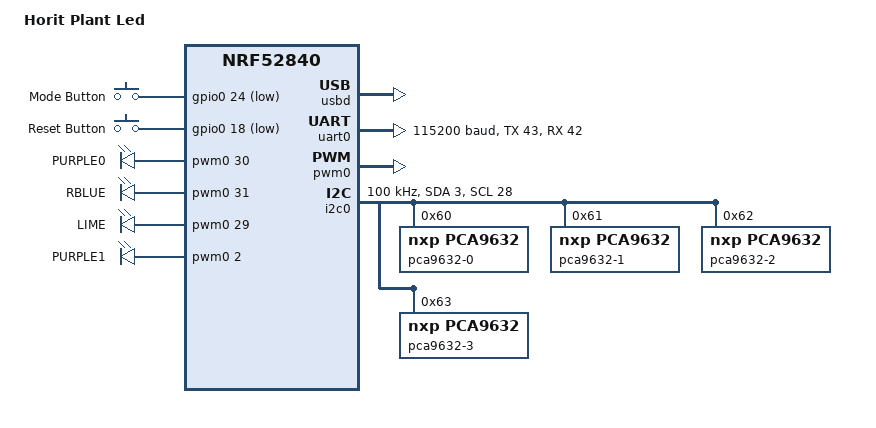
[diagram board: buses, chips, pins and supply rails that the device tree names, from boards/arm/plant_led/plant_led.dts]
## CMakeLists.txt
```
list(APPEND ZEPHYR_EXTRA_MODULES
  ${CMAKE_CURRENT_SOURCE_DIR}/drivers/as7341
  ${CMAKE_CURRENT_SOURCE_DIR}/drivers/pca9632
  ${CMAKE_CURRENT_SOURCE_DIR}/drivers/led_slowpwm
  ${CMAKE_CURRENT_SOURCE_DIR}/drivers/cap_sensor
  )
set(BOARD_ROOT ${CMAKE_CURRENT_LIST_DIR})
set(BOARD particle_xenon)
# ===== DO NOT REMOVE =====
cmake_minimum_required(VERSION 3.13.1)
find_package(Zephyr REQUIRED HINTS $ENV{ZEPHYR_BASE})
# ===== DO NOT REMOVE =====
project(horticulture_led_fw)

FILE(GLOB app_sources src/*.c)

target_sources(app PRIVATE ${app_sources})

# Define the two required variables before including
# the source code for watching a git repository.
set(PRE_CONFIGURE_FILE "src/headers/git.h.in")
set(POST_CONFIGURE_FILE "src/headers/git.h")
include(git_watcher.cmake)

# This last instruction is critical because it ensures
# we check git for changes prior to building the demo target.
add_dependencies(app check_git)
```

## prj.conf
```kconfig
# CONFIG_PRINTK=y
# CONFIG_NEWLIB_LIBC=y
# CONFIG_CBPRINTF_LIBC_SUBSTS=y
# CONFIG_POSIX_API=y
# CONFIG_POSIX_CLOCK=y
# CONFIG_MCUBOOT_SIGNATURE_KEY_FILE="bootloader/mcuboot/root-ec-p256.pem"
# CONFIG_MAIN_STACK_SIZE=4096
# CONFIG_INIT_STACKS=y
# CONFIG_ISR_STACK_SIZE=8196
# CONFIG_SETTINGS=y
# CONFIG_SETTINGS_RUNTIME=y
# CONFIG_FLASH_MAP=y
# CONFIG_HEAP_MEM_POOL_SIZE=8196
```

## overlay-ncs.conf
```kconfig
CONFIG_OPENTHREAD_NRF_SECURITY_CHOICE=y
CONFIG_OPENTHREAD_BUILD_OUTPUT_STRIPPED=y
CONFIG_MBEDTLS_CIPHER_MODE_CBC=n
CONFIG_MBEDTLS_CIPHER_MODE_CTR=n
CONFIG_MBEDTLS_CIPHER_MODE_CFB=n
CONFIG_MBEDTLS_CIPHER_MODE_OFB=n
CONFIG_MBEDTLS_CIPHER_MODE_XTS=n
CONFIG_MBEDTLS_GCM_C=n
CONFIG_MBEDTLS_CHACHA20_C=n
CONFIG_MBEDTLS_POLY1305_C=n
CONFIG_MBEDTLS_CHACHAPOLY_C=n
CONFIG_MBEDTLS_DHM_C=n
CONFIG_MBEDTLS_RSA_C=n
CONFIG_MBEDTLS_SHA1_C=n
CONFIG_MBEDTLS_SHA512_C=n
```

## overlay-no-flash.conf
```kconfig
CONFIG_IMG_MANAGER=n
CONFIG_BOOTLOADER_MCUBOOT=n
CONFIG_USB_DFU_CLASS=n
CONFIG_MCUBOOT_SIGNATURE_KEY_FILE=""
```

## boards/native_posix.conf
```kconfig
CONFIG_NETWORKING=y
CONFIG_NET_IPV4=y
CONFIG_STDOUT_CONSOLE=n
CONFIG_NEWLIB_LIBC=y
CONFIG_FLASH_PAGE_LAYOUT=n
CONFIG_FLASH_MAP=n
CONFIG_USE_DT_CODE_PARTITION=n
CONFIG_GPIO=n
CONFIG_DISPLAY=n
CONFIG_CHARACTER_FRAMEBUFFER=n
# CONFIG_NET_LOOPBACK=y
CONFIG_POSIX_API=n
CONFIG_NET_TCP=n
CONFIG_NET_SHELL=y
CONFIG_DNS_RESOLVER=y
CONFIG_ETH_NATIVE_POSIX=y
CONFIG_NET_CONFIG_MY_IPV6_ADDR="2001:db8::1"
CONFIG_NET_CONFIG_PEER_IPV6_ADDR="2001:db8::2"
CONFIG_ETH_NATIVE_POSIX_DRV_NAME="zeth.1"
CONFIG_ETH_NATIVE_POSIX_STARTUP_AUTOMATIC=n
CONFIG_NET_CONFIG_SETTINGS=y
CONFIG_SNTP=y
CONFIG_COAP=y
CONFIG_NET_SOCKETS=y
CONFIG_NET_CONFIG_CLOCK_SNTP_INIT=n
CONFIG_POSIX_CLOCK=n

CONFIG_ASAN=y
CONFIG_UBSAN=y
```

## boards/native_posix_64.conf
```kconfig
CONFIG_NETWORKING=y
CONFIG_NET_IPV4=y
CONFIG_STDOUT_CONSOLE=n
CONFIG_NEWLIB_LIBC=y
CONFIG_FLASH_PAGE_LAYOUT=n
CONFIG_FLASH_MAP=n
CONFIG_USE_DT_CODE_PARTITION=n
CONFIG_GPIO=n
CONFIG_DISPLAY=n
CONFIG_CHARACTER_FRAMEBUFFER=n
# CONFIG_NET_LOOPBACK=y
CONFIG_POSIX_API=n
CONFIG_NET_TCP=n
CONFIG_NET_SHELL=y
CONFIG_DNS_RESOLVER=y
CONFIG_ETH_NATIVE_POSIX=y
CONFIG_NET_CONFIG_MY_IPV6_ADDR="2001:db8::1"
CONFIG_NET_CONFIG_PEER_IPV6_ADDR="2001:db8::2"
CONFIG_ETH_NATIVE_POSIX_DRV_NAME="zeth.1"
CONFIG_ETH_NATIVE_POSIX_STARTUP_AUTOMATIC=n
CONFIG_NET_CONFIG_SETTINGS=y
CONFIG_SNTP=y
CONFIG_COAP=y
CONFIG_NET_SOCKETS=y
CONFIG_NET_CONFIG_CLOCK_SNTP_INIT=n
CONFIG_POSIX_CLOCK=n
```

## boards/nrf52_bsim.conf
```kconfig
CONFIG_STDOUT_CONSOLE=n
CONFIG_POSIX_API=n
CONFIG_NEWLIB_LIBC=y
CONFIG_FLASH_PAGE_LAYOUT=n
CONFIG_FLASH_MAP=n
CONFIG_USE_DT_CODE_PARTITION=n
CONFIG_GPIO=n
CONFIG_DISPLAY=n
CONFIG_CHARACTER_FRAMEBUFFER=n
```

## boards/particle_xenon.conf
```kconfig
# USB Console
CONFIG_USB_DEVICE_STACK=y
CONFIG_USB_DEVICE_PRODUCT="RC - Zephyr USB console"
# CONFIG_UART_CONSOLE=y
CONFIG_SERIAL=y
CONFIG_UART_LINE_CTRL=y
CONFIG_USB_UART_CONSOLE=y

CONFIG_LOG=y
CONFIG_LOG_DEFAULT_LEVEL=1

# Shell
CONFIG_SHELL=y
CONFIG_CLOCK_CONTROL_NRF_SHELL=y
CONFIG_FLASH_SHELL=n
CONFIG_SENSOR_SHELL=y
CONFIG_HWINFO_SHELL=n
CONFIG_KERNEL_SHELL=y
CONFIG_DEVICE_SHELL=y
CONFIG_CAN_SHELL=y

CONFIG_UART_INTERRUPT_DRIVEN=y
CONFIG_USB_COMPOSITE_DEVICE=n
CONFIG_USB_CDC_ACM_RINGBUF_SIZE=512
CONFIG_SHELL_BACKEND_SERIAL_INIT_PRIORITY=80
CONFIG_SHELL_PROMPT_UART="uart:~$ "
CONFIG_STDOUT_CONSOLE=y

# CAN bus
CONFIG_SPI=y
CONFIG_CAN=n
CONFIG_CAN_MCP2515=n

# Sensors
CONFIG_SENSOR=y
CONFIG_I2C=y
CONFIG_BME280=y
## CONFIG_MPU6050_TRIGGER_NONE=n
CONFIG_VL53L0X=y
CONFIG_VL53L0X_PROXIMITY_THRESHOLD=100

CONFIG_CBPRINTF_FP_SUPPORT=y

# # GPIO
CONFIG_GPIO=y
CONFIG_PWM=y
CONFIG_PWM_NRFX=y

CONFIG_FPU=y

# CONFIG_LED=n
# # CONFIG_QDEC_NRFX=y

# # FLASH
# CONFIG_FLASH=y
# CONFIG_FLASH_PAGE_LAYOUT=y
# CONFIG_SOC_FLASH_NRF=y
# CONFIG_MPU_ALLOW_FLASH_WRITE=y

# # Bootloader
# CONFIG_BOOTLOADER_MCUBOOT=y
# CONFIG_REBOOT=y
# CONFIG_IMG_MANAGER=y
# CONFIG_IMG_BLOCK_BUF_SIZE=2048
# CONFIG_SETTINGS_NVS=y
# CONFIG_NVS=y

# # CONFIG_NEWLIB_LIBC=y
# CONFIG_SYSTEM_WORKQUEUE_STACK_SIZE=2048

## RTT
CONFIG_UART_CONSOLE=n
CONFIG_RTT_CONSOLE=y
CONFIG_USE_SEGGER_RTT=y
CONFIG_LOG_BACKEND_RTT=y
# CONFIG_SHELL_BACKEND_RTT=y
# CONFIG_LOG_BACKEND_RTT_FORCE_PRINTK=y
```

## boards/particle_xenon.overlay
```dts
/*
 * Copyright (c) 2019 PHYTEC Messtechnik GmbH
 *
 * SPDX-License-Identifier: Apache-2.0
 */
 /delete-node/ &boot_partition;
 /delete-node/ &slot0_partition;
 /delete-node/ &slot1_partition;
 
 &flash0 {
	 partitions {
			 compatible = "fixed-partitions";
			 #address-cells = <1>;
			 #size-cells = <1>;
 
			 boot_partition: partition@0 {
				 label = "mcuboot";
				 reg = <0x000000000 0x00010000>;
			 };
			 slot0_partition: partition@10000 {
				 label = "image-0";
				 reg = <0x000010000 0x000074000>;
			 };
			 slot1_partition: partition@75000 {
				 label = "image-1";
				 reg = <0x00084000 0x000074000>;
			 };
	 };
 };

   &pwm0 {
	status = "okay";
	ch0-pin = <44>;
   };
   &pwm1 {
	status = "okay";
	ch0-pin = <42>;
	ch1-pin = <40>;
	ch2-pin = <43>;
   };
   &pwm3 {
	status = "okay";
	ch0-pin = <34>;
	ch1-pin = <33>;
   };

 &i2c0 {
	status = "okay";
	bme280: bme280@76 {
		compatible = "bosch,bme280";
		reg = <0x76>;
		label = "ENVIRONMENTAL_SENSOR";
	};
	vl53l0x: vl53l0x@29 {
		compatible = "st,vl53l0x";
		reg = <0x29>;
		// xshut-gpios = <&gpioc 6 GPIO_ACTIVE_HIGH>;
		label = "LASER_DISTANCE_SENSOR";
	};
	// mpu9250@68 {
	// 	compatible = "invensense,mpu6050";
	// 	reg = <0x68>;
	// 	status = "okay";
	// 	label = "MPU9250";
	// 	int-gpios = <&gpio0 11 GPIO_ACTIVE_HIGH>;
	// };	
};
&spi1 {
    status = "okay";
	compatible = "nordic,nrf-spi";
	sck-pin = <47>;   /* 32 + 15 */
	mosi-pin = <45>;  /* 32 + 13 */
 	miso-pin = <46>;  /* 32 + 14 */	
    cs-gpios = <&gpio0 4 GPIO_ACTIVE_LOW>;
	can1: mcp2515@0 {               
		compatible = "microchip,mcp2515";
		spi-max-frequency = <1000000>;
		int-gpios = <&gpio0 3 0>; /* D2 */
		status = "okay";
		label = "CAN_1";
		reg = <0x0>;
		osc-freq = <16000000>;
		bus-speed = <125000>;
		sjw = <1>;
		prop-seg = <2>;
		phase-seg1 = <7>;
		phase-seg2 = <6>;
		#address-cells = <1>;
		#size-cells = <0>;
		sample-point = < 875 >; // ?
	};
};
/ {
	gpio_keys {
		echo0: button_2 {
			gpios = <&gpio1 3 (GPIO_PULL_DOWN | GPIO_ACTIVE_HIGH)>;
			label = "Distance sensor 0 echo pin";
		};		
		echo1: button_3 {
			gpios = <&gpio0 31 (GPIO_PULL_DOWN | GPIO_ACTIVE_HIGH)>;
			label = "Distance sensor 1 echo pin";
		};		
	};
	leds {
		trig0: led_0 {
			gpios = <&gpio0 29 GPIO_ACTIVE_HIGH>;
			label = "Distance sensor 0 trig pin";
		};
		trig1: led_1 {
			gpios = <&gpio0 30 GPIO_ACTIVE_HIGH>;
			label = "Distance sensor 1 trig pin";
		};
	};
	vbatt {
		compatible = "voltage-divider";
		io-channels = <&adc 2>;
		output-ohms = <2100000>;
		full-ohms = <(2100000 + 806000)>;
	};

	aliases {
		i2c0 = &i2c0;
		pwm0 = &pwm0;
		pwm1 = &pwm1;
		pwm3 = &pwm3;
		can1 = &can1;
		echo0 = &echo0;
		trig0 = &trig0;

		echo1 = &echo1;
		trig1 = &trig1;
	};
};

// &qdec {
// 	compatible = "nordic,nrf-qdec";
// 	status = "okay";
// 	a-pin = <28>;
// 	b-pin = <4>;
// 	led-pre = <0>;
// 	steps = <60>;
// 	label = "QDEC_0";
// };
/ {
	chosen {
		zephyr,console = &cdc_acm_uart0;
		zephyr,shell-uart = &cdc_acm_uart0;
		zephyr,can-primary = &can1;
	};
};

&zephyr_udc0 {
	cdc_acm_uart0: cdc_acm_uart0 {
		compatible = "zephyr,cdc-acm-uart";
		label = "CDC_ACM_0";
	};
};
```

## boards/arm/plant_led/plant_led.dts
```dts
/*
 * Copyright (c) 2018 Nordic Semiconductor ASA
 * Copyright (c) 2017 Linaro Limited
 *
 * SPDX-License-Identifier: Apache-2.0
 */

/dts-v1/;
#include <nordic/nrf52840_qiaa.dtsi>

/ {
	model = "Horit Plant Led";
	compatible = "nordic,plant_led";

	chosen {
		zephyr,console = &uart0;
		zephyr,shell-uart = &uart0;
		zephyr,uart-mcumgr = &uart0;
		zephyr,bt-mon-uart = &uart0;
		zephyr,bt-c2h-uart = &uart0;
		zephyr,sram = &sram0;
		zephyr,flash = &flash0;
		zephyr,code-partition = &slot0_partition;
	};
	gpio_keys {
		compatible = "gpio-keys";
		mode_button: button_0 {
			gpios = <&gpio0 24 (GPIO_PULL_UP | GPIO_ACTIVE_LOW)>;
			label = "Mode Button";
		};

		reset_button: button_1 {
				gpios = <&gpio0 18 (GPIO_PULL_UP | GPIO_ACTIVE_LOW)>;
				label = "Reset Button";
		};
	 
	};



};

&flash0 {
	partitions {
		compatible = "fixed-partitions";
		#address-cells = <1>;
		#size-cells = <1>;
		boot_partition: partition@0 {
			label = "mcuboot";
			reg = <0x000000000 0x00010000>;
		};
		slot0_partition: partition@10000 {
			label = "image-0";
			reg = <0x000010000 0x000074000>;
		};
		slot1_partition: partition@75000 {
			label = "image-1";
			reg = <0x00084000 0x000074000>;
		};

		/*
		 * The flash starting at 0x000f8000 and ending at
		 * 0x000fffff is reserved for use by the application.
		 */

		/*
		 * Storage partition will be used by FCB/LittleFS/NVS
		 * if enabled.
		 */
		storage_partition: partition@f8000 {
			label = "storage";
			reg = <0x000f8000 0x00008000>;
		};
	};
};

zephyr_udc0: &usbd {
	compatible = "nordic,nrf-usbd";
	status = "okay";
};
&gpiote {
	status = "okay";
};

&gpio0 {
	status = "okay";
};

&gpio1 {
	status = "okay";
};

&uart0 {
	compatible = "nordic,nrf-uarte";
	status = "okay";
	current-speed = <115200>;
	tx-pin = <43>;
	rx-pin = <42>;
};
&pwm0 {
	status = "okay";
	ch0-pin = <30>;
	ch1-pin = <31>;
	ch2-pin = <29>;
	ch3-pin = <02>;
};
&i2c0 {
	compatible = "nordic,nrf-twi";
	status = "okay";
	clock-frequency = <I2C_BITRATE_STANDARD>;
	sda-pin = <3>;
	scl-pin = <28>;

	pca96320: pca9632@60 {
		compatible = "nxp,pca9632";
		reg = <0x60>;
		label = "pca9632-0";
	};
	pca96321: pca9632@61 {
		compatible = "nxp,pca9632";
		reg = <0x61>;
		label = "pca9632-1";
	};
	pca96322: pca9632@62 {
		compatible = "nxp,pca9632";
		reg = <0x62>;
		label = "pca9632-2";
	};
	pca96323: pca9632@63 {
		compatible = "nxp,pca9632";
		reg = <0x63>;
		label = "pca9632-3";
	};
};
/ {
	pwmleds {
		compatible = "pwm-leds";

		purple0_pwm_led: led_pwm_0 {
			pwms = <&pwm0 30>;
			label = "PURPLE0";
		};

		royale_blue_pwm_led: led_pwm_1 {
			pwms = <&pwm0 31>;
			label = "RBLUE";
		};

		lime_pwm_led: led_pwm_2 {
			pwms = <&pwm0 29>;
			label = "LIME";
		};

		purple1_pwm_led: led_pwm_3 {
			pwms = <&pwm0 2>;
			label = "PURPLE1";
		};
	};

	aliases {
		purple0-pwm-led = &purple0_pwm_led;
		lime-pwm-led = &lime_pwm_led;
		royal-blue-pwm-led = &royale_blue_pwm_led;
		purple1-pwm-led = &purple1_pwm_led;
	};
};
```

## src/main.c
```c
/*
 * Copyright (c) 2022
 *
 * SPDX-License-Identifier: Apache-2.0
 */

#include <zephyr.h>
#include <device.h>
#include <drivers/gpio.h>
#include <drivers/sensor.h>
#include <drivers/uart.h>
#include <logging/log.h>

#include <stdio.h>
#include <sys/printk.h>
#include <usb/usb_device.h>

// #include <time.h>
// #include <stdlib.h>
// #include <errno.h>
// #include <unistd.h>

#ifdef CONFIG_IMG_MANAGER
#include <dfu/mcuboot.h>
#include <dfu/flash_img.h>
#endif

#include "headers/pwm_control.h"
#include "headers/shell_menu.h"
#include "headers/git.h"
#include "headers/sensor_reading.h"
#include "headers/hcsr_distance_sensor.h"


#define WAIT_UNTIL_USB_CONNECTION
#define WQ_TIME_MS 100
#define PID_INTERVAL 1

LOG_MODULE_REGISTER(main, LOG_LEVEL_INF);

// USER BTN Interrupt:
#define SW0_NODE    DT_ALIAS(sw0)
#if !DT_NODE_HAS_STATUS(SW0_NODE, okay)
#error "Unsupported board: sw0 devicetree alias is not defined"
#endif
static const struct gpio_dt_spec button = GPIO_DT_SPEC_GET_OR(SW0_NODE, gpios, {0});
static struct gpio_callback button_cb_data;

void button_pressed(const struct device *dev, struct gpio_callback *cb, uint32_t pins) {
    LOG_INF("Button pressed at %" PRIu32 "\n", k_cycle_get_32());
    // Can be used to reset distance / change mode ...
    // gpio_remove_callback(button.port, &button_cb_data);
}

void init_button_callback() {
    int ret;
    if (!device_is_ready(button.port)) {
        LOG_ERR("Error: button device %s is not ready\n",
               button.port->name);
        return;
    }

    ret = gpio_pin_configure_dt(&button, GPIO_INPUT);
    if (ret != 0) {
        LOG_ERR("Error %d: failed to configure %s pin %d\n",
               ret, button.port->name, button.pin);
        return;
    }

    ret = gpio_pin_interrupt_configure_dt(&button, GPIO_INT_EDGE_TO_ACTIVE);
    if (ret != 0) {
        LOG_ERR("Error %d: failed to configure interrupt on %s pin %d\n",
            ret, button.port->name, button.pin);
        return;
    }

    gpio_init_callback(&button_cb_data, button_pressed, BIT(button.pin));
    gpio_add_callback(button.port, &button_cb_data);
    LOG_INF("Set up button at %s pin %d\n", button.port->name, button.pin);
}

////////////////////  WORKQUEUE  /////////////////
// Will run stuff periodicaly
static uint32_t wq_counter = 0;
static uint32_t last_run_pid = 0;

void wq_timing_handler(struct k_timer *dummy) {
    if (wq_counter >= last_run_pid + PID_INTERVAL) {
         // run PID functionality or set flag to do so in main loop;
         last_run_pid = wq_counter;
    }
    wq_counter += WQ_TIME_MS;
}

K_TIMER_DEFINE(wq_timer, wq_timing_handler, NULL);
/* Start workque timer */
int wq_init() {
    k_timer_start(&wq_timer, K_MSEC(WQ_TIME_MS), K_MSEC(WQ_TIME_MS));
    return 0;
}

void main(void) {
    if (usb_enable(NULL)) {
        LOG_ERR("Failed to enable USB");
        return;
    }
    /* Poll if the DTR flag was set, wait until connected ... */
    #ifdef WAIT_UNTIL_USB_CONNECTION
    uint32_t dtr = 0;
    const struct device *dev_console = DEVICE_DT_GET(DT_CHOSEN(zephyr_console));
    while (!dtr) {
        uart_line_ctrl_get(dev_console, UART_LINE_CTRL_DTR, &dtr);
        k_sleep(K_MSEC(1000));
    }
    #endif  // WAIT UNTIL USB CONNECTION

    LOG_INF("ELEBAC22 RC - %s \n", GIT_DESCRIBE);
    LOG_INF("HC-SR04 initializing!");
    hcsr_init();  // Initialize HC-SR04 sensors
    LOG_INF("Sensor handler initializing!");
    init_sensors();
    LOG_INF("Motor PWM initializing!");
    motor_init();
    LOG_INF("Button callback initializing!");
    init_button_callback();
    // LOG_INF("Setting handler initializing!");
    // settings_init();
    LOG_INF("Work queue for PID etc initializing!");
    wq_init();

    while (1) {
        make_reading_and_send();
        /* Give CPU resources to low priority threads. */
        k_sleep(K_MSEC(100));
        log_output_all_sensors();
        k_sleep(K_MSEC(900));
    }
}
```

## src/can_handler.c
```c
/*
 * Copyright (c) 2022
 *
 * SPDX-License-Identifier: Apache-2.0
 */
// CAN bus:
#ifdef CONFIG_CAN

#include <zephyr.h>
#include <stdio.h>
#include <device.h>
#include <drivers/can.h>
#include <sys/byteorder.h>
#include <logging/log.h>

#define RX_THREAD_STACK_SIZE 512
#define RX_THREAD_PRIORITY 2
#define STATE_POLL_THREAD_STACK_SIZE 512
#define STATE_POLL_THREAD_PRIORITY 2
#define LED_MSG_ID 0x10
#define COUNTER_MSG_ID 0x12345
#define SET_LED 1
#define RESET_LED 0

#define CAN0_NODE_NAME DT_ALIAS(can1)

K_THREAD_STACK_DEFINE(rx_thread_stack, RX_THREAD_STACK_SIZE);
K_THREAD_STACK_DEFINE(poll_state_stack, STATE_POLL_THREAD_STACK_SIZE);

const struct device *can_dev = DEVICE_DT_GET(CAN0_NODE_NAME);

struct k_thread rx_thread_data;
struct k_thread poll_state_thread_data;
struct zcan_work rx_work;
struct k_work state_change_work;
enum can_state current_state;
struct can_bus_err_cnt current_err_cnt;

CAN_DEFINE_MSGQ(counter_msgq, 2);

void can_api_init(void) {
     int ret;
     printk("GET: %s\n", can_dev->name);  // node 0
}

void tx_irq_callback(int error, void *arg) {
    char *sender = (char *)arg;

    if (error != 0) {
        printk("Callback! error-code: %d\nSender: %s\n",
               error, sender);
    }
}

void rx_thread(void *arg1, void *arg2, void *arg3) {
    ARG_UNUSED(arg1);
    ARG_UNUSED(arg2);
    ARG_UNUSED(arg3);
    const struct zcan_filter filter = {
        .id_type = CAN_EXTENDED_IDENTIFIER,
        .rtr = CAN_DATAFRAME,
        .id = COUNTER_MSG_ID,
        .rtr_mask = 1,
        .id_mask = CAN_EXT_ID_MASK
    };
    struct zcan_frame msg;
    int filter_id;

    filter_id = can_attach_msgq(can_dev, &counter_msgq, &filter);
    printk("Counter filter id: %d\n", filter_id);

    while (1) {
        k_msgq_get(&counter_msgq, &msg, K_FOREVER);

        if (msg.dlc != 2U) {
            printk("Wrong data length: %u\n", msg.dlc);
            continue;
        }

        printk("Counter received: %u\n",
               sys_be16_to_cpu(UNALIGNED_GET((uint16_t *)&msg.data)));
    }
}

void change_led(struct zcan_frame *msg, void *unused) {
    ARG_UNUSED(unused);

    printk("LED %s\n", msg->data[0] == SET_LED ? "ON" : "OFF");
    return;
}

char *state_to_str(enum can_state state) {
    switch (state) {
    case CAN_ERROR_ACTIVE:
        return "error-active";
    case CAN_ERROR_PASSIVE:
        return "error-passive";
    case CAN_BUS_OFF:
        return "bus-off";
    default:
        return "unknown";
    }
}
void poll_state_thread(void *unused1, void *unused2, void *unused3) {
    struct can_bus_err_cnt err_cnt = {0, 0};
    struct can_bus_err_cnt err_cnt_prev = {0, 0};
    enum can_state state_prev = CAN_ERROR_ACTIVE;
    enum can_state state;

    while (1) {
        state = can_get_state(can_dev, &err_cnt);
        if (err_cnt.tx_err_cnt != err_cnt_prev.tx_err_cnt ||
            err_cnt.rx_err_cnt != err_cnt_prev.rx_err_cnt ||
            state_prev != state) {
            err_cnt_prev.tx_err_cnt = err_cnt.tx_err_cnt;
            err_cnt_prev.rx_err_cnt = err_cnt.rx_err_cnt;
            state_prev = state;
            printk("state: %s\n"
                   "rx error count: %d\n"
                   "tx error count: %d\n",
                   state_to_str(state),
                   err_cnt.rx_err_cnt, err_cnt.tx_err_cnt);
        } else {
            k_sleep(K_MSEC(100));
        }
    }
}

void state_change_isr(enum can_state state, struct can_bus_err_cnt err_cnt) {
    current_state = state;
    current_err_cnt = err_cnt;
    k_work_submit(&state_change_work);
}

void state_change_work_handler(struct k_work *work) {
    printk("State Change ISR\nstate: %s\n"
           "rx error count: %d\n"
           "tx error count: %d\n",
        state_to_str(current_state),
        current_err_cnt.rx_err_cnt, current_err_cnt.tx_err_cnt);
}
#endif

/// CAN FROM MAIN:
// #ifdef CONFIG_CAN
//     const struct zcan_filter change_led_filter = {
//         .id_type = CAN_STANDARD_IDENTIFIER,
//         .rtr = CAN_DATAFRAME,
//         .id = LED_MSG_ID,
//         .rtr_mask = 1,
//         .id_mask = CAN_STD_ID_MASK
//     };
//     struct zcan_frame change_led_frame = {
//         .id_type = CAN_STANDARD_IDENTIFIER,
//         .rtr = CAN_DATAFRAME,
//         .id = LED_MSG_ID,
//         .dlc = 1
//     };
//     struct zcan_frame counter_frame = {
//         .id_type = CAN_EXTENDED_IDENTIFIER,
//         .rtr = CAN_DATAFRAME,
//         .id = COUNTER_MSG_ID,
//         .dlc = 2
//     };
//     uint8_t toggle = 1;
//     uint16_t counter = 0;
//     k_tid_t rx_tid, get_state_tid;

//     if (!device_is_ready(can_dev)) {
//         printk("CAN: Device %s not ready.\n", can_dev->name);
//         return;
//     }

//     k_work_init(&state_change_work, state_change_work_handler);

//     ret = can_attach_workq(can_dev, &k_sys_work_q, &rx_work, change_led,
//                    NULL, &change_led_filter);
//     if (ret == CAN_NO_FREE_FILTER) {
//         printk("Error, no filter available!\n");
//         return;
//     }

//     printk("Change LED filter ID: %d\n", ret);

//     rx_tid = k_thread_create(&rx_thread_data, rx_thread_stack,
//                  K_THREAD_STACK_SIZEOF(rx_thread_stack),
//                  rx_thread, NULL, NULL, NULL,
//                  RX_THREAD_PRIORITY, 0, K_NO_WAIT);
//     if (!rx_tid) {
//         printk("ERROR spawning rx thread\n");
//     }


//     get_state_tid = k_thread_create(&poll_state_thread_data,
//                     poll_state_stack,
//                     K_THREAD_STACK_SIZEOF(poll_state_stack),
//                     poll_state_thread, NULL, NULL, NULL,
//                     STATE_POLL_THREAD_PRIORITY, 0,
//                     K_NO_WAIT);
//     if (!get_state_tid) {
//         printk("ERROR spawning poll_state_thread\n");
//     }

//     can_register_state_change_isr(can_dev, state_change_isr);

// #endif

// CAN FROM MAIN LOOP:
// #ifdef CONFIG_CAN
//         change_led_frame.data[0] = toggle++ & 0x01 ? SET_LED : RESET_LED;
//         /* This sending call is none blocking. */
//         can_send(can_dev, &change_led_frame, K_FOREVER,
//              tx_irq_callback,
//              "LED change");
//         k_sleep(K_MSEC(250));

//         UNALIGNED_PUT(sys_cpu_to_be16(counter),
//                   (uint16_t *)&counter_frame.data[0]);
//         counter++;
//         // /* This sending call is blocking until the message is sent. */
//         // can_send(can_dev, &counter_frame, K_MSEC(100), NULL, NULL);
// #endif
```

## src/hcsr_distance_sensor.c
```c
// "Copyright 2022 RC-project"
#include <zephyr.h>
#include <stdio.h>
#include <device.h>
#include <drivers/gpio.h>
#include <drivers/sensor.h>
#include <logging/log.h>

#include "headers/definitions.h"
#include "headers/hcsr_distance_sensor.h"


LOG_MODULE_REGISTER(distance, LOG_LEVEL_INF);

// USER BTN Interrupt:
#define TRIG_PIN_0_NODE    DT_ALIAS(trig0)
#define ECHO_PIN_0_NODE    DT_ALIAS(echo0)
#define TRIG_PIN_1_NODE    DT_ALIAS(trig1)
#define ECHO_PIN_1_NODE    DT_ALIAS(echo1)
// #define TRIG_0_PIN DT_GPIO_PIN(TRIG_PIN_0_NODE, gpios)
// #define TRIG_1_PIN DT_GPIO_PIN(TRIG_PIN_1_NODE, gpios)

#if !DT_NODE_HAS_STATUS(TRIG_PIN_0_NODE, okay)
#error "Unsupported board: trig0 devicetree alias is not defined"
#endif
#if !DT_NODE_HAS_STATUS(ECHO_PIN_0_NODE, okay)
#error "Unsupported board: echo0 devicetree alias is not defined"
#endif
#if !DT_NODE_HAS_STATUS(TRIG_PIN_1_NODE, okay)
#error "Unsupported board: trig1 devicetree alias is not defined"
#endif
#if !DT_NODE_HAS_STATUS(ECHO_PIN_1_NODE, okay)
#error "Unsupported board: echo1 devicetree alias is not defined"
#endif

#define TRIG_TIME K_USEC(10)
#define MAX_ECHO_WAIT 0
#define SENSE_FREQ K_MSEC(400)


/* Timings defined by spec */
#define T_TRIG_PULSE_US     K_USEC(11)
#define T_INVALID_PULSE_US    25000
#define T_MAX_WAIT_MS         130
#define T_SPURIOS_WAIT_US     145
#define METERS_PER_SEC        340


#define DIST_SENSOR_FACTOR METERS_PER_SEC / 2

uint64_t trig_time = 0;
uint8_t cur_dist_sensor = 0;
uint8_t trig_type = 0;

static const struct gpio_dt_spec trig_0 = GPIO_DT_SPEC_GET_OR(TRIG_PIN_0_NODE, gpios, {0});
static const struct gpio_dt_spec trig_1 = GPIO_DT_SPEC_GET_OR(TRIG_PIN_1_NODE, gpios, {0});
static const struct gpio_dt_spec echo_0 = GPIO_DT_SPEC_GET_OR(ECHO_PIN_0_NODE, gpios, {0});
static const struct gpio_dt_spec echo_1 = GPIO_DT_SPEC_GET_OR(ECHO_PIN_1_NODE, gpios, {0});

static struct gpio_callback echo_0_cb_data;
static struct gpio_callback echo_1_cb_data;

struct sensor_value distance_readings[MAX_DISTANCE_SENSORS];

void hcsr_timing_handler(struct k_timer *dummy) {
    // Switch between the two sensors ...
    cur_dist_sensor = !cur_dist_sensor;  // 0 or 1 ...
    LOG_DBG("Sending trigger on %d ...", cur_dist_sensor);
    send_trig();
}

K_TIMER_DEFINE(hcsr_timer, hcsr_timing_handler, NULL);

void hcsr_get(int sensor_no, int channel, struct sensor_value *sv) {
    sv->val1 = distance_readings[sensor_no].val1;
    sv->val2 = distance_readings[sensor_no].val2;
}

void echo_returned(const struct device *dev, struct gpio_callback *cb, uint32_t pins) {
    if (trig_type == 0) {
        if (cur_dist_sensor == 0) {
            gpio_remove_callback(echo_0.port, &echo_0_cb_data);
            gpio_pin_interrupt_configure_dt(&echo_0, GPIO_INT_EDGE_FALLING);
            gpio_add_callback(echo_0.port, &echo_0_cb_data);
        } else {
            gpio_remove_callback(echo_1.port, &echo_1_cb_data);
            gpio_pin_interrupt_configure_dt(&echo_1, GPIO_INT_EDGE_FALLING);
            gpio_add_callback(echo_1.port, &echo_1_cb_data);
        }
        trig_time = k_cycle_get_32();
        trig_type = 1;
    } else {
        uint64_t diff = k_cyc_to_us_floor64(k_cycle_get_32() - trig_time);
        int distance = diff * DIST_SENSOR_FACTOR;
        distance_readings[cur_dist_sensor].val2 = (distance % 1000000);
        distance_readings[cur_dist_sensor].val1 = (distance / 1000000);
    }
}

void hcsr_init() {
    LOG_INF("Init HC-SR04 distance sensors");
    gpio_pin_configure_dt(&trig_0, GPIO_OUTPUT);
    gpio_pin_configure_dt(&trig_1, GPIO_OUTPUT);
    gpio_init_callback(&echo_0_cb_data, echo_returned, BIT(echo_0.pin));
    gpio_init_callback(&echo_1_cb_data, echo_returned, BIT(echo_1.pin));
    int ret;
    if (!device_is_ready(echo_0.port)) {
        LOG_ERR("Error: Echo-pin device %s is not ready\n",
               echo_0.port->name);
        return;
    }
    ret = gpio_pin_configure_dt(&echo_0, GPIO_INPUT);
    if (ret != 0) {
        LOG_ERR("Error %d: failed to configure %s pin %d\n",
               ret, echo_0.port->name, echo_0.pin);
        return;
    }
    ret = gpio_pin_interrupt_configure_dt(&echo_0, GPIO_INT_EDGE_TO_ACTIVE);
    if (ret != 0) {
        LOG_ERR("Error %d: failed to configure interrupt on %s pin %d\n",
            ret, echo_0.port->name, echo_0.pin);
        return;
    }
    if (!device_is_ready(echo_1.port)) {
        LOG_ERR("Error: Echo-pin device %s is not ready\n",
               echo_1.port->name);
        return;
    }
    ret = gpio_pin_configure_dt(&echo_1, GPIO_INPUT);
    if (ret != 0) {
        LOG_ERR("Error %d: failed to configure %s pin %d\n",
               ret, echo_1.port->name, echo_1.pin);
        return;
    }
    ret = gpio_pin_interrupt_configure_dt(&echo_1, GPIO_INT_EDGE_TO_ACTIVE);
    if (ret != 0) {
        LOG_ERR("Error %d: failed to configure interrupt on %s pin %d\n",
            ret, echo_1.port->name, echo_1.pin);
        return;
    }
    k_timer_start(&hcsr_timer, SENSE_FREQ, SENSE_FREQ);
}

void send_trig() {
    trig_time = k_cycle_get_32();
    if (!cur_dist_sensor) {
        gpio_pin_set_dt(&trig_0, 1);
        k_sleep(T_TRIG_PULSE_US);
        gpio_pin_set_dt(&trig_0, 0);
        gpio_add_callback(echo_0.port, &echo_0_cb_data);
        LOG_DBG("Trig sent on %s pin %d", echo_0.port->name, echo_0.pin);
    } else {
        gpio_pin_set_dt(&trig_1, 1);
        k_sleep(T_TRIG_PULSE_US);
        gpio_pin_set_dt(&trig_1, 0);
        gpio_add_callback(echo_1.port, &echo_1_cb_data);
        gpio_pin_interrupt_configure_dt(&echo_1, GPIO_INT_EDGE_RISING);
        trig_type = 0;
        LOG_DBG("Trig sent on %s pin %d", echo_1.port->name, echo_1.pin);
    }
}
```

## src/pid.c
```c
/*
 * Copyright (c) 2021 
 *
 * SPDX-License-Identifier: Apache-2.0
 */

#include "headers/pid.h"

void PIDController_Init(struct PIDController *pid) {
    /* Clear controller variables */
    pid->integrator = 0.0f;
    pid->prevError  = 0.0f;

    pid->differentiator  = 0.0f;
    pid->prevMeasurement = 0.0f;

    pid->out = 0.0f;
}

float PIDController_Update(struct PIDController *pid, float setpoint, float measurement) {
    float error = setpoint - measurement;               // Error signal
    pid->proportional = pid->pid_gains.K_p * error;      // Proportional
    /* Integral    */
    pid->integrator = pid->integrator + 0.5f * pid->pid_gains.K_i * pid->T * (error + pid->prevError);
    /* Anti-wind-up via integrator clamping */
    if (pid->integrator > pid->integrator_limits.max) {
        pid->integrator = pid->integrator_limits.max;
    } else if (pid->integrator < pid->integrator_limits.min) {
        pid->integrator = pid->integrator_limits.min;
    }

    /* Derivative (band-limited differentiator)     
        Note: derivative on measurement, therefore minus sign in front of equation! */
/*    pid->differentiator = -(2.0f * pid->pid_gains.K_d * (measurement - pid->prevMeasurement)
                        + (2.0f * pid->tau - pid->T) * pid->differentiator)
                        / (2.0f * pid->tau + pid->T);
*/
    pid->differentiator = pid->pid_gains.K_d * (measurement - pid->prevMeasurement) / pid->T;
    /* Compute output and apply limits    */
    pid->out = pid->proportional + pid->integrator + pid->differentiator;

    if (pid->out > pid->output_limits.max) {
        pid->out = pid->output_limits.max;
    } else if (pid->out < pid->output_limits.min) {
        pid->out = pid->output_limits.min;
    }

    /* Store error and measurement for later use */
    pid->prevError       = error;
    pid->prevMeasurement = measurement;

    /* Return controller output */
    return pid->out;
}
```

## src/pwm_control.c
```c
/*
 * Copyright (c) 2022
 *
 * SPDX-License-Identifier: Apache-2.0
 */

#include <zephyr.h>
#include <device.h>
#include <drivers/pwm.h>
#include <logging/log.h>
#include <stdio.h>
#include <sys/printk.h>

#include "headers/definitions.h"

LOG_MODULE_REGISTER(pwm_control, LOG_LEVEL_INF);

/* period of servo motor signal ->  20ms (50Hz) */
#define PERIOD (USEC_PER_SEC / 50U)

/* all in micro second */
#define STEP 100    /* PWM pulse step */
#define MINPULSEWIDTH 1000  /* Servo 0 degrees */
#define MIDDLEPULSEWIDTH 1500   /* Servo 90 degrees */
#define MAXPULSEWIDTH 2000  /* Servo 180 degrees */

#define HZ_TO_USEC(frequency)   (USEC_PER_SEC / frequency)

#define linmot_max_pwm 20000

#define MOTOR_0_0_PWM_PORT DT_PROP(DT_ALIAS(pwm1), ch0_pin)
#define MOTOR_0_1_PWM_PORT DT_PROP(DT_ALIAS(pwm1), ch1_pin)
#define MOTOR_1_0_PWM_PORT DT_PROP(DT_ALIAS(pwm3), ch0_pin)
#define MOTOR_1_1_PWM_PORT DT_PROP(DT_ALIAS(pwm3), ch1_pin)
#define MOTOR_EXT_PWM_PORT DT_PROP(DT_ALIAS(pwm0), ch0_pin)
#define SERVO_PWM_PORT DT_PROP(DT_ALIAS(pwm1), ch2_pin)
#define PWM0_DEV_NAME DT_ALIAS(pwm0)
#define PWM1_DEV_NAME DT_ALIAS(pwm1)
#define PWM3_DEV_NAME DT_ALIAS(pwm3)

const struct device *pwm0_dev;
const struct device *pwm1_dev;
const struct device *pwm3_dev;

int motor_init() {
    pwm0_dev = DEVICE_DT_GET(PWM0_DEV_NAME);
    if (!device_is_ready(pwm0_dev)) {
        LOG_ERR("PWM device is not ready\n");
    }
    pwm1_dev = DEVICE_DT_GET(PWM1_DEV_NAME);
    if (!device_is_ready(pwm1_dev)) {
        LOG_ERR("PWM device is not ready\n");
    }
    pwm3_dev = DEVICE_DT_GET(PWM3_DEV_NAME);
    if (!device_is_ready(pwm3_dev)) {
        LOG_ERR("PWM device is not ready\n");
    }
    return 0;
}

int motor_set_speed(enum motor_ids motor, int dir, int speed) {
    int speed_value = 200 - speed;
    switch (motor) {
        case MOTOR_LEFT:
            if (dir == DIR_FORWARD) {
                pwm_pin_set_cycles(pwm3_dev, MOTOR_1_0_PWM_PORT, 200, speed_value, 0);  // V FREM
                pwm_pin_set_cycles(pwm3_dev, MOTOR_1_1_PWM_PORT, 200, 200, 0);  // V FREM
            } else if (dir == DIR_REVERSE) {
                pwm_pin_set_cycles(pwm3_dev, MOTOR_1_0_PWM_PORT, 200, 200, 0);  // V BAK
                pwm_pin_set_cycles(pwm3_dev, MOTOR_1_1_PWM_PORT, 200, speed_value, 0);  // V BAK
            }
            break;

        case MOTOR_RIGHT:
            if (dir == DIR_FORWARD) {
                pwm_pin_set_cycles(pwm1_dev, MOTOR_0_0_PWM_PORT, 200, 200, 0);   // H FREM
                pwm_pin_set_cycles(pwm1_dev, MOTOR_0_1_PWM_PORT, 200, speed_value, 0);   // H FREM
            } else if (dir == DIR_REVERSE) {
                pwm_pin_set_cycles(pwm1_dev, MOTOR_0_0_PWM_PORT, 200, speed_value, 0);   // H BAK
                pwm_pin_set_cycles(pwm1_dev, MOTOR_0_1_PWM_PORT, 200, 200, 0);   // H BAK
            }
            break;

        case MOTOR_EXT:
            // For something like the linmot linear motor used in ELE340, another GPIO output would be
            // needed for controlling direction. Example for that can be found in the ELE340 project.
            // For Other motor drivers other sets of frequency / PWM can be set to control the motor.
            LOG_ERR("External motor logic is not defined. Need to first choose a motor.");
            if (dir == DIR_FORWARD) {
                // pwm_pin_set_cycles(pwm0_dev, MOTOR_EXT_PWM_PORT, 200, 200, 0);   // EXT MOTOR
            } else if (dir == DIR_REVERSE) {
                // pwm_pin_set_cycles(pwm0_dev, MOTOR_EXT_PWM_PORT, 200, 200, 0);   // EXT MOTOR
            }
            break;

        default:
            LOG_ERR("Invalid motor id used to set speed!");
    }
    return 0;
}

int motor_servo_set_angle(int angle) {
    // pwm_pin_set_cycles(pwm1_dev, SERVO_PWM_PORT, 200, 100, 0);   // SERVO
    /* all in micro second */
    // STEP 100    /* PWM pulse step */
    // MINPULSEWIDTH 1000  /* Servo 0 degrees */
    // MIDDLEPULSEWIDTH 1500   /* Servo 90 degrees */
    // MAXPULSEWIDTH 2000  /* Servo 180 degrees */
    return 0;
}
```

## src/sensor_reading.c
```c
// "Copyright 2022 RC-project"
#include <zephyr.h>
#include <devicetree.h>
#include <drivers/sensor.h>
#include <logging/log.h>

#include "headers/definitions.h"
#include "headers/hcsr_distance_sensor.h"
LOG_MODULE_REGISTER(sensor, LOG_LEVEL_INF);

struct sensordata sensor_readings[MAX_SENSOR_READINGS];

#ifdef CONFIG_BME280
#define TEMP_SENSOR DT_LABEL(DT_NODELABEL(bme280))
const struct device *dev_env;
// struct sensor_value temp, press, humidity;
#endif   // BME280
#ifdef CONFIG_VL53L0X
const struct device *dev_vl5310x;
// struct sensor_value vl53_value;
#endif   // VL53L0x
#ifdef CONFIG_MPU6500

#endif   // MPU6500

int init_sensors() {
#ifdef CONFIG_BME280
    dev_env = DEVICE_DT_GET_ANY(bosch_bme280);
    if (dev_env == NULL) {
        LOG_ERR("Error: BME280 not found.");
    }
    if (!device_is_ready(dev_env)) {
        LOG_ERR("Device BME280 is not ready, check the driver initialization logs for errors.");
    }
    LOG_INF("Found device BME280 getting sensor data\n");
#endif

#ifdef CONFIG_VL53L0X
    dev_vl5310x = DEVICE_DT_GET_ANY(st_vl53l0x);
    if (dev_vl5310x == NULL) {
        LOG_ERR("Error: VL53L0x not found.");
    }
    if (!device_is_ready(dev_vl5310x)) {
        LOG_ERR("Device VL53L0x is not ready, check the driver initialization logs for errors.");
    }
    LOG_INF("Found device VL53L0x getting sensor data\n");
#endif   // VL53L0x

#ifdef CONFIG_MPU6500
    // const char *const label = DT_LABEL(DT_INST(0, invensense_mpu9250));
    // const struct device *mpu9250 = device_get_binding(label);
    // if (!mpu6050) {
    //     printf("Failed to find sensor %s\n", label);
    //     return;
    // }
#endif   // MPU6500

    return 0;
}

void work_make_readings_and_send(struct k_work *work) {
    uint8_t currentreading;
    int ret;
#ifdef CONFIG_BME280
    currentreading = BME280_AMBIENT_TEMP;
    if (dev_env != NULL) {
        LOG_DBG("Make environment reading");
        int channels[] = {SENSOR_CHAN_AMBIENT_TEMP, SENSOR_CHAN_PRESS, SENSOR_CHAN_HUMIDITY};
        ret = sensor_sample_fetch(dev_env);
        if (ret) {
            LOG_ERR("BME280 fetch failed ret: %d\n", ret);
        } else {
            for (int i = 0; i < (sizeof(channels) / sizeof(int)); i++) {
                if (currentreading < MAX_SENSOR_READINGS) {
                    sensor_readings[currentreading].measurement_type = channels[i];
                    sensor_channel_get(dev_env, channels[i], &sensor_readings[currentreading].data_channel);
                    currentreading++;
                } else {
                    LOG_ERR("Sensor buffer full");
                }
            }
        }
    }
#endif

#ifdef CONFIG_VL53L0X
    currentreading = VL53L0X_DISTANCE;
    if (dev_vl5310x != NULL) {
        LOG_DBG("Make distance reading");
        int channels[] = {SENSOR_CHAN_DISTANCE, SENSOR_CHAN_PROX};
        ret = sensor_sample_fetch(dev_vl5310x);
        if (ret) {
            LOG_ERR("VL53L0X fetch failed ret: %d\n", ret);
        } else {
            for (int i = 0; i < (sizeof(channels) / sizeof(int)); i++) {
                if (currentreading < MAX_SENSOR_READINGS) {
                    sensor_readings[currentreading].measurement_type = channels[i];
                    sensor_channel_get(dev_vl5310x, channels[i], &sensor_readings[currentreading].data_channel);
                    currentreading++;
                } else {
                    LOG_ERR("Sensor buffer full");
                }
            }
        }
    }
#endif
    currentreading = HCSR04_0;
    LOG_DBG("Make distance reading");
    int channels[] = {SENSOR_CHAN_DISTANCE, SENSOR_CHAN_DISTANCE};
    for (int i = 0; i < (sizeof(channels) / sizeof(int)); i++) {
        if (currentreading < MAX_SENSOR_READINGS) {
            sensor_readings[currentreading].measurement_type = channels[i];
            hcsr_get(i, channels[i], &sensor_readings[currentreading].data_channel);
            currentreading++;
        } else {
            LOG_ERR("Sensor buffer full");
        }
    }

#ifdef CONFIG_MPU6500

#endif   // MPU6500

#ifdef CONFIG_CAN
    // Transmit over CAN (?)
#endif   // CAN
}

K_WORK_DELAYABLE_DEFINE(make_rd_and_send, work_make_readings_and_send);

int make_reading_and_send() {
    k_work_schedule(&make_rd_and_send, K_MSEC(10));
    return 0;
}

void log_output_all_sensors() {
    #ifdef CONFIG_BME280
            LOG_INF("temp: %d.%06d; press: %d.%03d; humidity: %d.%03d",
                sensor_readings[BME280_AMBIENT_TEMP].data_channel.val1,
                sensor_readings[BME280_AMBIENT_TEMP].data_channel.val2,
                sensor_readings[BME280_PRESS].data_channel.val1,
                sensor_readings[BME280_PRESS].data_channel.val2,
                sensor_readings[BME280_HUMIDITY].data_channel.val1,
                sensor_readings[BME280_HUMIDITY].data_channel.val2);
    #endif
    #ifdef CONFIG_VL53L0X
            LOG_INF("Distance: %d.%06d; proximity: %d",
                sensor_readings[VL53L0X_DISTANCE].data_channel.val1,
                sensor_readings[VL53L0X_DISTANCE].data_channel.val2,
                sensor_readings[VL53L0X_PROX].data_channel.val1);
    #endif
    // if distance sensors
        LOG_INF("Distance HCSR04-0: %d.%06d",
            sensor_readings[HCSR04_0].data_channel.val1,
            sensor_readings[HCSR04_0].data_channel.val2);
        LOG_INF("Distance HCSR04-1: %d.%06d",
            sensor_readings[HCSR04_1].data_channel.val1,
            sensor_readings[HCSR04_1].data_channel.val2);
    // endif distance sensors
}
```

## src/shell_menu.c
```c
/*
 * Copyright (c) 2021
 *
 * SPDX-License-Identifier: Apache-2.0
 */
#ifdef CONFIG_SHELL
#include <zephyr.h>
#include <shell/shell.h>
#include <version.h>
#include <logging/log.h>
#include <stdlib.h>
#include <ctype.h>

#include "headers/definitions.h"
// #include "headers/hort_settings.h"
#include "headers/pwm_control.h"
#include "headers/git.h"

LOG_MODULE_REGISTER(app);
// int8_t check_valid_data(const struct shell *shell, uint8_t panel,
//     uint8_t hour, uint8_t minute, uint8_t color, uint8_t level) {
//     if (level > 100) {
//         shell_print(shell, "Invalid LED-level entered");
//         return -1;
//     }
//     if (color > MAX_COLOURS) {
//         shell_print(shell, "Invalid Colour entered");
//         return -1;
//     }
//     if (hour > 24 || minute >= 60) {
//         shell_print(shell, "Invalid time entered");
//         return -1;
//     }
//     if (panel >= MAX_LEDPANELS) {
//         shell_print(shell, "Invalid panel entered");
//         return -1;
//     }
//     return 0;
// }
// static int set_LedPanel(const struct shell *shell, size_t argc, char **argv) {
//     uint8_t current_panel = atoi(argv[1]);
//     uint8_t color = atoi(argv[2]);
//     uint8_t value = atoi(argv[3]);
//     if (check_valid_data(shell, current_panel, 0, 0, color, value) < 0) {
//         return -1;
//     }
//     settings_set_led_level(current_panel, color, value);
//     shell_print(shell, "LedPanel %d - LED %d: %d", current_panel, color, value);
//     return 0;
// }

static int menu_set_motors(const struct shell *shell, size_t argc, char **argv) {
    uint8_t dir_a = atoi(argv[1]);
    uint8_t speed_a = atoi(argv[2]);
    uint8_t dir_b = atoi(argv[3]);
    uint8_t speed_b = atoi(argv[4]);
    if (speed_a > 201) { speed_a = 201; }
    if (speed_b > 201) { speed_b = 201; }

    if (dir_a) {
        motor_set_speed(MOTOR_LEFT, DIR_FORWARD, speed_a);
    } else {
        motor_set_speed(MOTOR_LEFT, DIR_REVERSE, speed_a);
    }
    if (dir_b) {
        motor_set_speed(MOTOR_RIGHT, DIR_FORWARD, speed_b);
    } else {
        motor_set_speed(MOTOR_RIGHT, DIR_REVERSE, speed_b);
    }
    shell_print(shell, "m0: %d - %d  |  m1: %d - %d.",
        dir_a, speed_a, dir_b, speed_b);
    return 0;
}

char* is_dirty() {
    if (GIT_IS_DIRTY) {
        return "-DIRTY";
    } else {
        return "";
    }
}

static int cmd_fw_version(const struct shell *shell) {
    shell_print(shell, "Zephyr version %s", KERNEL_VERSION_STRING);
    shell_print(shell, "RC-Controller firmware version %s-%s%s", GIT_BRANCH, GIT_DESCRIBE, is_dirty());
    return 0;
}

SHELL_STATIC_SUBCMD_SET_CREATE(sub_rc,
    // SHELL_CMD_ARG(led-intensity, NULL, " led-intensity [ledpanel] [color] [intensity 0-255]", set_LedPanel, 3, 1),
    // SHELL_CMD_ARG(led-start, NULL, "led-start [ledpanel] [HH] [MM]", set_LedPanel_on, 3, 1),
    // SHELL_CMD_ARG(led-stop, NULL, "led-stop [ledpanel] [HH] [MM]", set_LedPanel_off, 3, 1),
    // SHELL_CMD_ARG(led-state, NULL, "led-state [ledpanel] [ACTIVE (1) / INACTIVE (0)]", set_LedPanel_mode, 2, 1),
    SHELL_CMD_ARG(motor-set-speed, NULL, "motor-set-speed [dir a] [v a] [dir b] [v b]", menu_set_motors, 4, 0),
    SHELL_CMD(sysver, NULL, "Show System version", cmd_fw_version),
    SHELL_SUBCMD_SET_END /* Array terminated. */
);

SHELL_CMD_REGISTER(rc_controller, &sub_rc, "RC-Controller Commands", NULL);
#endif  // CONFIG_SHELL
```

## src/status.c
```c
// "Copyright 2022 Horti-proj"
#include <zephyr.h>
#include <device.h>
#include <logging/log.h>
#include "headers/definitions.h"

atomic_t status = ATOMIC_INIT(0);

int status_set(int32_t status_code) {
    atomic_set(&status, status_code);
    return 0;
}

int32_t status_get() {
    return (int32_t)atomic_get(&status);
}
```
